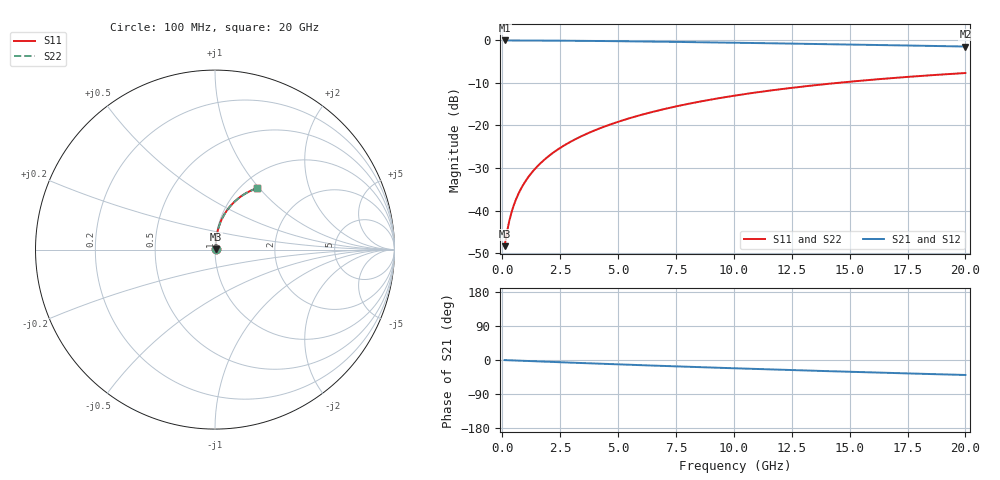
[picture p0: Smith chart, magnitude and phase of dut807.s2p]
! Touchstone file exported from HFSS 2024.1.0
!  File:  C:/UserFiles/LocalFiles/RDL_TSV_Batchsim/temp_RDL_top_807_1779854025.aedt
!  Generated:  11:56:07 AM May 27, 2026
!  Design:  RDL_top
!  Project:  temp_RDL_top_807_1779854025
!  Setup:  Setup1
!  Solution:  Sweep
! Variables:
!  dtsv = 10.80580581um
!  hbump = 3um
!  htsv = 53.53um
!  ldown = 100um
!  lrdl = 516.59um
!  p = 40
!  p1 = 54.78um
!  rhole = 1um
!  t = 450um
!  tdown = 3.915915916um
!  trdl = 3.4um
!  wdown = 15.38538539um
!  wrdl = 18.76um
# GHz S MA R 50.000000
! Terminal data exported
! Port[1] = Box2_T1
! Port[2] = Box2_T2
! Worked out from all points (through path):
!   200 points, 100 MHz to 20 GHz, reference 50 ohm
!   highest |S21| = -0.03 dB at 100 MHz (marker M1); lowest = -1.4 dB at 20 GHz (marker M2)
!   group delay of S21, straight-line fit = 5.46 ps
!   lowest |S11| = -48.4 dB at 100 MHz (marker M3), VSWR 1.01, Z = 50.3 + j0.232 ohm
!   |S11| at or under -10 dB: start of sweep to 14.48 GHz
!   |S22| runs from -48.4 to -7.7 dB; largest |S21 - S12| = 2.6e-15
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0.1  0.003813 37.2  0.997 -0.2  0.997 -0.2  0.003813 37.2
! Gamma 0 0 0 0
! Port Impedance 50 0 50 0
0.2  0.005543 55.5  0.9968 -0.5  0.9968 -0.5  0.005543 55.5
0.3  0.007522 64.2  0.9967 -0.7  0.9967 -0.7  0.007523 64.2
0.4  0.009565 69.2  0.9965 -1.0  0.9965 -1.0  0.009565 69.2
0.5  0.01163 72.4  0.9964 -1.2  0.9964 -1.2  0.01163 72.4
0.6  0.0137 74.7  0.9962 -1.4  0.9962 -1.4  0.0137 74.7
0.8  0.01788 77.7  0.9959 -1.9  0.9959 -1.9  0.01788 77.6
1.1  0.02421 80.2  0.9953 -2.6  0.9953 -2.6  0.02421 80.2
1.5  0.03275 81.9  0.9944 -3.6  0.9944 -3.6  0.03275 81.9
1.8  0.03921 82.6  0.9935 -4.3  0.9935 -4.3  0.03921 82.6
2.1  0.04572 83.0  0.9925 -5.0  0.9925 -5.0  0.04571 83.0
2.7  0.05884 83.3  0.9902 -6.3  0.9902 -6.3  0.05883 83.3
3.5  0.07655 83.1  0.9863 -8.2  0.9863 -8.2  0.07653 83.0
4.2  0.09223 82.5  0.9824 -9.7  0.9824 -9.7  0.09221 82.5
5  0.1103 81.6  0.9773 -11.5  0.9773 -11.5  0.1103 81.6
5.9  0.1308 80.4  0.971 -13.5  0.971 -13.5  0.1308 80.4
6.8  0.1513 79.1  0.9643 -15.4  0.9643 -15.4  0.1513 79.0
8.4  0.1877 76.4  0.9514 -18.6  0.9514 -18.6  0.1876 76.3
10.1  0.2255 73.3  0.937 -22.0  0.937 -22.0  0.2253 73.3
13.4  0.2949 67.2  0.9075 -28.2  0.9075 -28.2  0.2947 67.2
16.7  0.3577 61.3  0.877 -34.0  0.877 -34.0  0.3575 61.3
20  0.4131 55.7  0.8463 -39.5  0.8463 -39.5  0.4128 55.7
